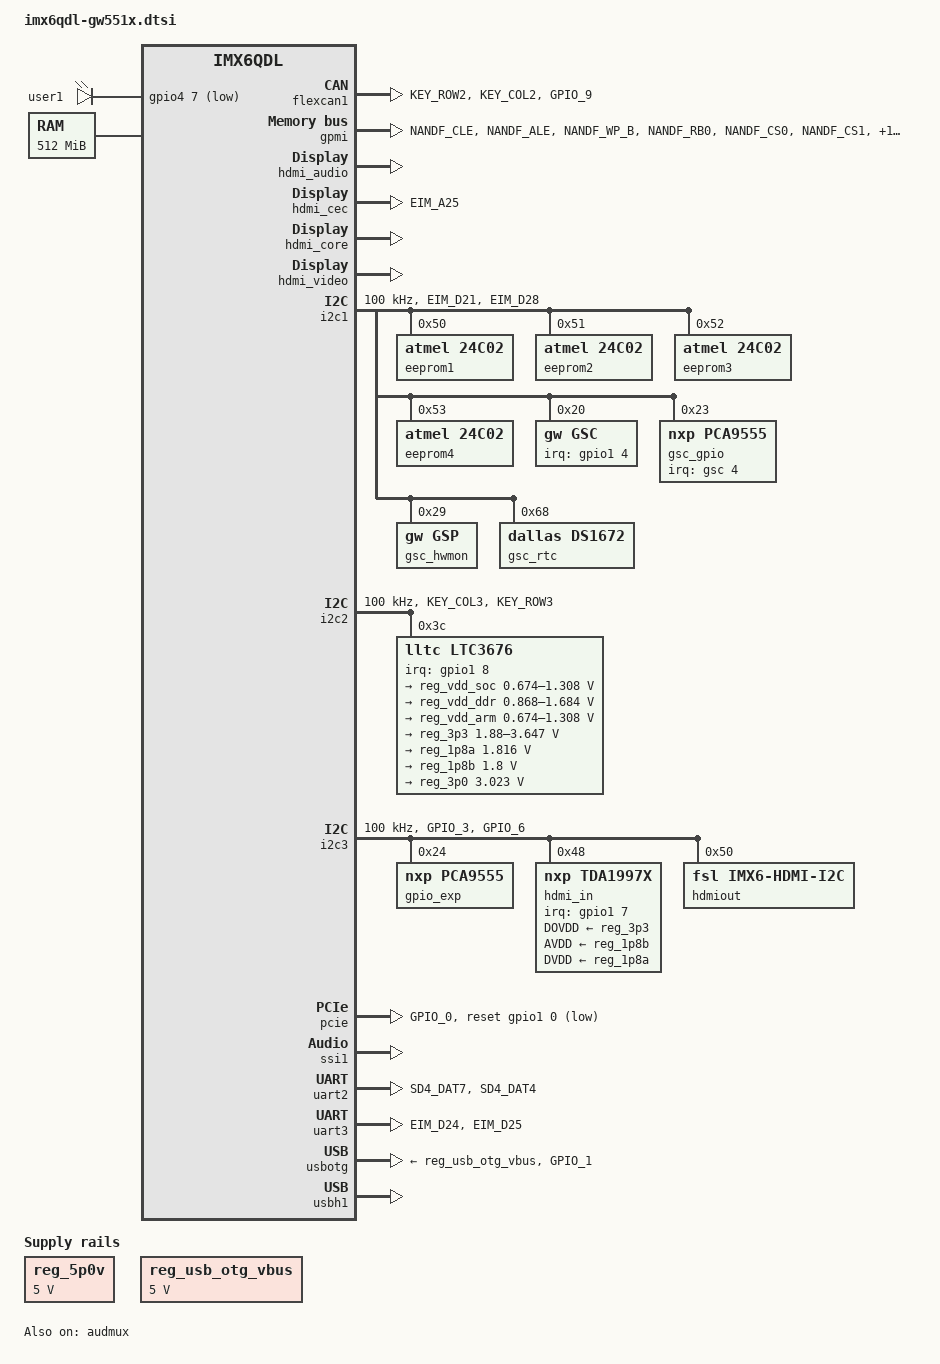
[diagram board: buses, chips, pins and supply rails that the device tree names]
/*
 * Copyright 2014 Gateworks Corporation
 *
 * The code contained herein is licensed under the GNU General Public
 * License. You may obtain a copy of the GNU General Public License
 * Version 2 or later at the following locations:
 *
 * http://www.opensource.org/licenses/gpl-license.html
 * http://www.gnu.org/copyleft/gpl.html
 */

/ {
	/* these are used by bootloader for disabling nodes */
	aliases {
		can0 = &flexcan1;
		led0 = &led0;
		mxcfb0 = &mxcfb1;
		nand = &gpmi;
		ssi0 = &ssi1;
		usb0 = &usbh1;
		usb1 = &usbotg;
	};

	chosen {
		bootargs = "console=ttymxc1,115200";
	};

	leds {
		compatible = "gpio-leds";
		pinctrl-names = "default";
		pinctrl-0 = <&pinctrl_gpio_leds>;

		led0: user1 {
			label = "user1";
			gpios = <&gpio4 7 GPIO_ACTIVE_LOW>;
			default-state = "on";
			linux,default-trigger = "heartbeat";
		};
	};

	memory {
		reg = <0x10000000 0x20000000>;
	};


	hdmi_video_in: hdmi_video_in {
		compatible = "fsl,imx6-ventana-tda1997x",
			     "fsl,imx-tda1997x-video";
		pinctrl-names = "default";
		pinctrl-0 = <&pinctrl_hdmiin>;
		ipu_id = <0>;
		csi_id = <0>;
		status = "okay";
	};

	hdmi_audio_in: hdmi_audio_in {
		compatible = "fsl,imx6-ventana-tda1997x",
			     "fsl,imx-tda1997x-audio";
		status = "okay";
	};

	regulators {
		compatible = "simple-bus";
		#address-cells = <1>;
		#size-cells = <0>;

		reg_5p0v: regulator@1 {
			compatible = "regulator-fixed";
			reg = <1>;
			regulator-name = "5P0V";
			regulator-min-microvolt = <5000000>;
			regulator-max-microvolt = <5000000>;
			regulator-always-on;
		};

		reg_usb_otg_vbus: regulator@2 {
			compatible = "regulator-fixed";
			reg = <2>;
			regulator-name = "OTG_VBUS";
			regulator-min-microvolt = <5000000>;
			regulator-max-microvolt = <5000000>;
			regulator-always-on;
		};
	};

	sound-hdmi-in {
		compatible = "fsl,imx6q-ventana-tda1997x",
			     "fsl,imx-audio-tda1997x";
		model = "tda1997x-audio";
		cpu-dai = <&ssi1>;
		audio-codec = <&tda1997x_codec>;
		mux-int-port = <1>;
		mux-ext-port = <5>;
	};

	sound-hdmi-out {
		compatible = "fsl,imx6q-audio-hdmi",
			     "fsl,imx-audio-hdmi";
		model = "imx-audio-hdmi";
		hdmi-controller = <&hdmi_audio>;
	};

	mxcfb1: fb@0 {
		compatible = "fsl,mxc_sdc_fb";
		disp_dev = "hdmi";
		interface_pix_fmt = "RGB24";
		mode_str ="1920x1080M@60";
		default_bpp = <24>;
		int_clk = <0>;
		late_init = <0>;
		status = "okay";
	};

	cap0: v4l2_cap_0 {
		compatible = "fsl,imx6q-v4l2-capture";
		ipu_id = <0>;
		csi_id = <0>;
		mclk_source = <0>;
		status = "okay";
	};

	tda1997x_codec: sound-tda1997x-codec {
		compatible = "nxp,tda1997x-codec";
		status = "okay";
	};

	v4l2_out {
		compatible = "fsl,mxc_v4l2_output";
		status = "okay";
	};
};

&audmux {
	pinctrl-names = "default";
	pinctrl-0 = <&pinctrl_audmux>; /* AUD5<->tda1997x */
	status = "okay";
};

&cpu0 {
	arm-supply = <&reg_vdd_arm>;
	soc-supply = <&reg_vdd_soc>;
	pu-supply = <&pu_dummy>; /* ldo-bypass */
};

&flexcan1 {
	pinctrl-names = "default";
	pinctrl-0 = <&pinctrl_flexcan1>;
	trx-stby-gpio = <&gpio1 9 GPIO_ACTIVE_HIGH>;
	status = "okay";
};


&gpc {
	fsl,cpu_pupscr_sw2iso = <0xf>;
	fsl,cpu_pupscr_sw = <0xf>;
	fsl,cpu_pdnscr_iso2sw = <0x1>;
	fsl,cpu_pdnscr_iso = <0x1>;
	fsl,ldo-bypass = <1>;
	pu-supply = <&pu_dummy>; /* ldo-bypass */
};

&gpmi {
	pinctrl-names = "default";
	pinctrl-0 = <&pinctrl_gpmi_nand>;
	status = "okay";
};

&gpu {
	pu-supply = <&pu_dummy>; /* ldo-bypass */
};

&hdmi_audio {
	status = "okay";
};

&hdmi_cec {
	pinctrl-names = "default";
	pinctrl-0 = <&pinctrl_hdmi_cec>;
	status = "okay";
};

&hdmi_core {
	ipu_id = <0>;
	disp_id = <1>;
	status = "okay";
};

&hdmi_video {
	fsl,phy_reg_vlev = <0x0294>;
	fsl,phy_reg_cksymtx = <0x800d>;
	status = "okay";
};

&i2c1 {
	clock-frequency = <100000>;
	pinctrl-names = "default";
	pinctrl-0 = <&pinctrl_i2c1>;
	status = "okay";

	eeprom1: eeprom@50 {
		compatible = "atmel,24c02";
		reg = <0x50>;
		pagesize = <16>;
	};

	eeprom2: eeprom@51 {
		compatible = "atmel,24c02";
		reg = <0x51>;
		pagesize = <16>;
	};

	eeprom3: eeprom@52 {
		compatible = "atmel,24c02";
		reg = <0x52>;
		pagesize = <16>;
	};

	eeprom4: eeprom@53 {
		compatible = "atmel,24c02";
		reg = <0x53>;
		pagesize = <16>;
	};

	gsc: gsc@20 {
		compatible = "gw,gsc";
		reg = <0x20>;
		interrupt-parent = <&gpio1>;
		interrupts = <4 GPIO_ACTIVE_LOW>;
		interrupt-controller;
		#interrupt-cells = <1>;

		/* GSC watchdog */
		watchdog {
			compatible = "gw,gsc_wdt";
			status = "okay";
		};

		/* Linux input events from GSC interrupt events */
		input {
			compatible = "gw,gsc_input";
			interrupt-parent = <&gsc>;
			interrupts = <0 1 2 5 7>;
			interrupt-names = "button", "key-erased", "eeprom-wp", "tamper", "button-held";
			status = "okay";
		};
	};

	gsc_gpio: pca9555@23 {
		compatible = "nxp,pca9555";
		reg = <0x23>;
		gpio-controller;
		#gpio-cells = <2>;
		interrupt-parent = <&gsc>;
		interrupts = <4>;
	};

	gsc_hwmon: hwmon@29 {
		compatible = "gw,gsp";
		reg = <0x29>;
	};

	gsc_rtc: ds1672@68 {
		compatible = "dallas,ds1672";
		reg = <0x68>;
	};
};

&i2c2 {
	clock-frequency = <100000>;
	pinctrl-names = "default";
	pinctrl-0 = <&pinctrl_i2c2>;
	status = "okay";

	ltc3676: pmic@3c {
		compatible = "lltc,ltc3676";
		reg = <0x3c>;
		interrupt-parent = <&gpio1>;
		interrupts = <8 2>;

		regulators {
			/* VDD_SOC (1+R1/R2 = 1.635) */
			reg_vdd_soc: sw1 {
				regulator-min-microvolt = <674400>;
				regulator-max-microvolt = <1308000>;
				lltc,fb-voltage-divider = <127000 200000>;
				regulator-ramp-delay = <7000>;
				regulator-boot-on;
				regulator-always-on;
			};

			/* VDD_DDR (1+R1/R2 = 2.105) */
			reg_vdd_ddr: sw2 {
				regulator-min-microvolt = <868310>;
				regulator-max-microvolt = <1684000>;
				lltc,fb-voltage-divider = <221000 200000>;
				regulator-ramp-delay = <7000>;
				regulator-boot-on;
				regulator-always-on;
			};

			/* VDD_ARM (1+R1/R2 = 1.635) */
			reg_vdd_arm: sw3 {
				regulator-min-microvolt = <674400>;
				regulator-max-microvolt = <1308000>;
				lltc,fb-voltage-divider = <127000 200000>;
				regulator-ramp-delay = <7000>;
				regulator-boot-on;
				regulator-always-on;
			};

			/* VDD_3P3 (1+R1/R2 = 1.281) */
			reg_3p3: sw4 {
				regulator-min-microvolt = <1880000>;
				regulator-max-microvolt = <3647000>;
				lltc,fb-voltage-divider = <200000 56200>;
				regulator-ramp-delay = <7000>;
				regulator-boot-on;
				regulator-always-on;
			};

			/* VDD_1P8a (1+R1/R2 = 2.505): HDMI In core */
			reg_1p8a: ldo2 {
				regulator-min-microvolt = <1816125>;
				regulator-max-microvolt = <1816125>;
				lltc,fb-voltage-divider = <301000 200000>;
				regulator-boot-on;
				regulator-always-on;
			};

			/* VDD_1P8b: HDMI In analog */
			reg_1p8b: ldo3 {
				regulator-min-microvolt = <1800000>;
				regulator-max-microvolt = <1800000>;
				regulator-boot-on;
			};

			/* VDD_HIGH (1+R1/R2 = 4.17) */
			reg_3p0: ldo4 {
				regulator-min-microvolt = <3023250>;
				regulator-max-microvolt = <3023250>;
				lltc,fb-voltage-divider = <634000 200000>;
				regulator-boot-on;
				regulator-always-on;
			};
		};
	};
};

&i2c3 {
	clock-frequency = <100000>;
	pinctrl-names = "default";
	pinctrl-0 = <&pinctrl_i2c3>;
	status = "okay";

	gpio_exp: pca9555@24 {
		compatible = "nxp,pca9555";
		reg = <0x24>;
		gpio-controller;
		#gpio-cells = <2>;
	};

	hdmi_in: tda1977x@48 {
		compatible = "nxp,tda1997x";
		reg = <0x48>;
		interrupt-parent = <&gpio1>;
		interrupts = <7 IRQ_TYPE_EDGE_FALLING>;
		hdcp = <0>; /* HDCP disabled */
		ddc_slave = <0x74>; /* DDC slave addres */
		max-pixel-rate = <180>; /* IMX6 CSI max pixel rate 180MP/sec */
		/* regulators */
		DOVDD-supply = <&reg_3p3>;
		AVDD-supply = <&reg_1p8b>;
		DVDD-supply = <&reg_1p8a>;
		/* video output format */
		vidout_fmt = "422_smp"; /* YUV422 */
		vidout_trc = <0>; /* no timing codes (SAV/EAV) in stream */
		vidout_blc = <0>; /* no blanking codes in stream */
		vidout_clkmode = "single_edge"; /* 1x clock */
		vidout_portcfg = [ 00 00 00 88 87 00 82 81 00 ];
		/* audio output format */
		audout_fmt = "i2s16"; /* I2S bus, 16bit per ch */
		audout_sysclk = <128>; /* 128fs clkmode */
		audout_layout = <0>; /* AP0,WS,A_CLK for up to 2ch audio */
		status = "okay";
	};

	hdmiout: edid@50 {
		compatible = "fsl,imx6-hdmi-i2c";
		reg = <0x50>;
	};
};

&iomuxc {
	imx6qdl-gw51xx {
		pinctrl_audmux: audmuxgrp {
			fsl,pins = <
				MX6QDL_PAD_DISP0_DAT19__AUD5_RXD	0x130b0
				MX6QDL_PAD_DISP0_DAT14__AUD5_RXC	0x130b0
				MX6QDL_PAD_DISP0_DAT13__AUD5_RXFS	0x130b0
			>;
		};

		pinctrl_flexcan1: flexcan1grp {
			fsl,pins = <
				MX6QDL_PAD_KEY_ROW2__FLEXCAN1_RX	0x1b0b1
				MX6QDL_PAD_KEY_COL2__FLEXCAN1_TX	0x1b0b1
				MX6QDL_PAD_GPIO_9__GPIO1_IO09		0x4001b0b0 /* CAN_STBY */
			>;
		};

		pinctrl_gpio_leds: gpioledsgrp {
			fsl,pins = <
				MX6QDL_PAD_KEY_ROW0__GPIO4_IO07		0x1b0b0
			>;
		};

		pinctrl_gpmi_nand: gpminandgrp {
			fsl,pins = <
				MX6QDL_PAD_NANDF_CLE__NAND_CLE		0xb0b1
				MX6QDL_PAD_NANDF_ALE__NAND_ALE		0xb0b1
				MX6QDL_PAD_NANDF_WP_B__NAND_WP_B	0xb0b1
				MX6QDL_PAD_NANDF_RB0__NAND_READY_B	0xb000
				MX6QDL_PAD_NANDF_CS0__NAND_CE0_B	0xb0b1
				MX6QDL_PAD_NANDF_CS1__NAND_CE1_B	0xb0b1
				MX6QDL_PAD_SD4_CMD__NAND_RE_B		0xb0b1
				MX6QDL_PAD_SD4_CLK__NAND_WE_B		0xb0b1
				MX6QDL_PAD_NANDF_D0__NAND_DATA00	0xb0b1
				MX6QDL_PAD_NANDF_D1__NAND_DATA01	0xb0b1
				MX6QDL_PAD_NANDF_D2__NAND_DATA02	0xb0b1
				MX6QDL_PAD_NANDF_D3__NAND_DATA03	0xb0b1
				MX6QDL_PAD_NANDF_D4__NAND_DATA04	0xb0b1
				MX6QDL_PAD_NANDF_D5__NAND_DATA05	0xb0b1
				MX6QDL_PAD_NANDF_D6__NAND_DATA06	0xb0b1
				MX6QDL_PAD_NANDF_D7__NAND_DATA07	0xb0b1
			>;
		};

		pinctrl_hdmi_cec: hdmicecgrp {
			fsl,pins = <
				MX6QDL_PAD_EIM_A25__HDMI_TX_CEC_LINE	0x1f8b0	
			>;
		};

		pinctrl_hdmiin: hdmiingrp {
			fsl,pins = <
				MX6QDL_PAD_CSI0_DATA_EN__IPU1_CSI0_DATA_EN	0xb0b1
				MX6QDL_PAD_CSI0_PIXCLK__IPU1_CSI0_PIXCLK	0xb0b1
				MX6QDL_PAD_CSI0_MCLK__IPU1_CSI0_HSYNC		0xb0b1
				MX6QDL_PAD_CSI0_VSYNC__IPU1_CSI0_VSYNC		0xb0b1
				MX6QDL_PAD_CSI0_DAT4__IPU1_CSI0_DATA04		0xb0b1
				MX6QDL_PAD_CSI0_DAT5__IPU1_CSI0_DATA05		0xb0b1
				MX6QDL_PAD_CSI0_DAT6__IPU1_CSI0_DATA06		0xb0b1
				MX6QDL_PAD_CSI0_DAT7__IPU1_CSI0_DATA07		0xb0b1
				MX6QDL_PAD_CSI0_DAT8__IPU1_CSI0_DATA08		0xb0b1
				MX6QDL_PAD_CSI0_DAT9__IPU1_CSI0_DATA09		0xb0b1
				MX6QDL_PAD_CSI0_DAT10__IPU1_CSI0_DATA10		0xb0b1
				MX6QDL_PAD_CSI0_DAT11__IPU1_CSI0_DATA11		0xb0b1
				MX6QDL_PAD_CSI0_DAT12__IPU1_CSI0_DATA12		0xb0b1
				MX6QDL_PAD_CSI0_DAT13__IPU1_CSI0_DATA13		0xb0b1
				MX6QDL_PAD_CSI0_DAT14__IPU1_CSI0_DATA14		0xb0b1
				MX6QDL_PAD_CSI0_DAT15__IPU1_CSI0_DATA15		0xb0b1
				MX6QDL_PAD_CSI0_DAT16__IPU1_CSI0_DATA16		0xb0b1
				MX6QDL_PAD_CSI0_DAT17__IPU1_CSI0_DATA17		0xb0b1
				MX6QDL_PAD_CSI0_DAT18__IPU1_CSI0_DATA18		0xb0b1
				MX6QDL_PAD_CSI0_DAT19__IPU1_CSI0_DATA19		0xb0b1
			>;
		};

		pinctrl_i2c1: i2c1grp {
			fsl,pins = <
				MX6QDL_PAD_EIM_D21__I2C1_SCL	0x4001b8b1
				MX6QDL_PAD_EIM_D28__I2C1_SDA	0x4001b8b1
			>;
		};

		pinctrl_i2c2: i2c2grp {
			fsl,pins = <
				MX6QDL_PAD_KEY_COL3__I2C2_SCL	0x4001b8b1
				MX6QDL_PAD_KEY_ROW3__I2C2_SDA	0x4001b8b1
			>;
		};

		pinctrl_i2c3: i2c3grp {
			fsl,pins = <
				MX6QDL_PAD_GPIO_3__I2C3_SCL	0x4001b8b1
				MX6QDL_PAD_GPIO_6__I2C3_SDA	0x4001b8b1
			>;
		};

		pinctrl_pcie: pciegrp {
			fsl,pins = <
				MX6QDL_PAD_GPIO_0__GPIO1_IO00		0x1b0b0
			>;
		};

		pinctrl_uart2: uart2grp {
			fsl,pins = <
				MX6QDL_PAD_SD4_DAT7__UART2_TX_DATA	0x1b0b1
				MX6QDL_PAD_SD4_DAT4__UART2_RX_DATA	0x1b0b1
			>;
		};

		pinctrl_uart3: uart3grp {
			fsl,pins = <
				MX6QDL_PAD_EIM_D24__UART3_TX_DATA	0x1b0b1
				MX6QDL_PAD_EIM_D25__UART3_RX_DATA	0x1b0b1
			>;
		};

		pinctrl_usbotg: usbotggrp {
			fsl,pins = <
				MX6QDL_PAD_GPIO_1__USB_OTG_ID		0x17059
			>;
		};
	};
};

&pcie {
	pinctrl-names = "default";
	pinctrl-0 = <&pinctrl_pcie>;
	reset-gpio = <&gpio1 0 GPIO_ACTIVE_LOW>;
	status = "okay";
};

&ssi1 {
	fsl,mode = "i2s-slave";
	status = "okay";
};

&uart2 {
	pinctrl-names = "default";
	pinctrl-0 = <&pinctrl_uart2>;
	status = "okay";
};

&uart3 {
	pinctrl-names = "default";
	pinctrl-0 = <&pinctrl_uart3>;
	status = "okay";
};

&usbotg {
	vbus-supply = <&reg_usb_otg_vbus>;
	pinctrl-names = "default";
	pinctrl-0 = <&pinctrl_usbotg>;
	disable-over-current;
	status = "okay";
};

&usbh1 {
	status = "okay";
};

&vpu {
	pu-supply = <&pu_dummy>; /* ldo-bypass */
};


